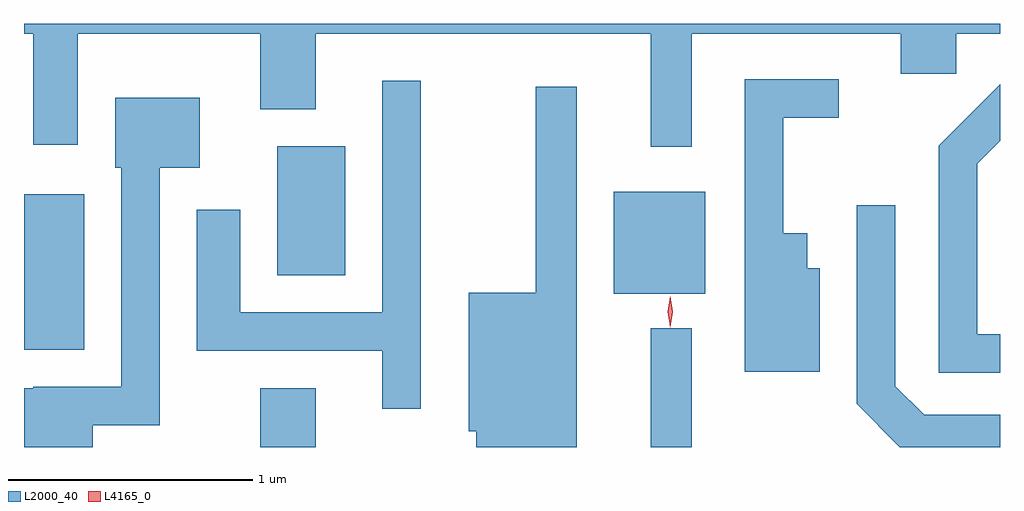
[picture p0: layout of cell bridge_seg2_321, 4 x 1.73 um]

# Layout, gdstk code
import gdstk
lib = gdstk.Library(unit=1e-6, precision=1e-09)
def R(c, l, rs):  # rectangles x0, y0, x1, y1
    for r in rs: c.add(gdstk.rectangle(r[:2], r[2:], *l))
def P(c, l, *ps):  # polygons
    for p in ps: c.add(gdstk.Polygon(p, *l))
L2000_40 = (2000, 40)
L4165_0 = (4165, 0)

bridge_seg2_321 = lib.new_cell('bridge_seg2_321')
R(bridge_seg2_321, L2000_40, [(399.411,977.802,399.639,978.044), (401.011,977.802,401.179,978.288), (398.443,978.201,398.689,978.839), (400.861,978.431,401.234,978.849), (399.481,978.506,399.759,979.034)])
P(bridge_seg2_321, L2000_40, [(401.179,979.496),(402.036,979.496),(402.036,979.331),(402.264,979.331),(402.264,979.496),(402.443,979.496),(402.443,979.536),(398.443,979.536),(398.443,979.496),(398.481,979.496),(398.481,979.041),(398.664,979.041),(398.664,979.496),(399.411,979.496),(399.411,979.186),(399.639,979.186),(399.639,979.496),(401.011,979.496),(401.011,979.033),(401.179,979.033)],
  [(401.704,978.534),(401.654,978.534),(401.654,978.679),(401.554,978.679),(401.554,979.151),(401.783,979.151),(401.783,979.309),(401.396,979.309),(401.396,978.111),(401.704,978.111)],
  [(400.069,979.303),(399.911,979.303),(399.911,978.354),(399.329,978.354),(399.329,978.774),(399.151,978.774),(399.151,978.196),(399.911,978.196),(399.911,977.958),(400.069,977.958)],
  [(402.443,978.264),(402.349,978.264),(402.349,978.964),(402.443,979.058),(402.443,979.288),(402.191,979.037),(402.191,978.106),(402.443,978.106)],
  [(400.709,979.278),(400.541,979.278),(400.541,978.434),(400.266,978.434),(400.266,977.866),(400.296,977.866),(400.296,977.802),(400.709,977.802)],
  [(398.724,977.891),(398.999,977.891),(398.999,978.946),(399.164,978.946),(399.164,979.234),(398.816,979.234),(398.816,978.946),(398.841,978.946),(398.841,978.049),(398.48,978.049),(398.48,978.044),(398.443,978.044),(398.443,977.802),(398.724,977.802)],
  [(402.443,977.934),(402.132,977.934),(402.014,978.052),(402.014,978.793),(401.856,978.793),(401.856,977.979),(402.033,977.802),(402.443,977.802)])
P(bridge_seg2_321, L4165_0, [(401.092,978.292),(401.091,978.293),(401.082,978.357),(401.091,978.421),(401.092,978.421),(401.092,978.421),(401.102,978.357),(401.092,978.293)])

lib.write_gds('bridge_seg2_321.gds')
